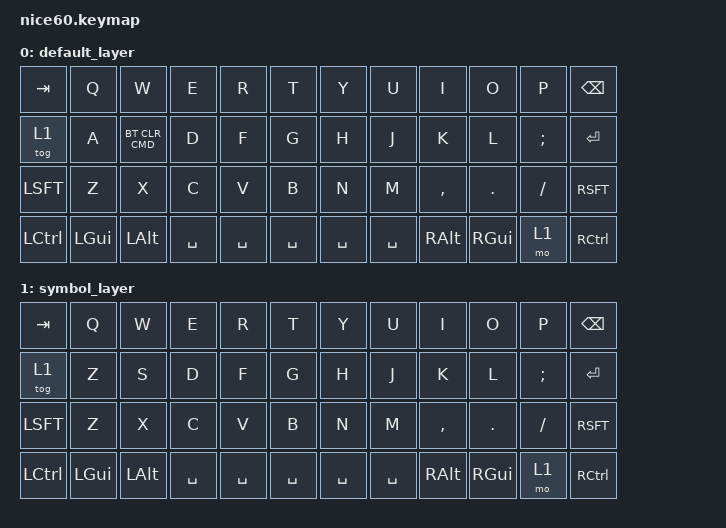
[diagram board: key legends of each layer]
#include <behaviors.dtsi>
#include <dt-bindings/zmk/keys.h>
#include <dt-bindings/zmk/rgb.h>
#include <dt-bindings/zmk/bt.h>

/ {
	keymap {
		compatible = "zmk,keymap";
		
		default_layer {
// ------------------------------------------------------------------------------------------
// | ESC |  1  |  2  |  3  |  4  |  5  |  6  |  7  |  8  |  9  |  0  |  -  |  =  |   BKSP   |
// | TAB  |  Q  |  W  |  E  |  R  |  T  |  Y  |  U  |  I  |  O  |  P  |  [  |  ]  |   "|"   |
// | CAPS  |  A  |  S  |  D  |  F  |  G  |  H  |  J  |  K  |  L  |  ;  |  '  |     ENTER    |
// |  SHIFT  |  Z  |  X  |  C  |  V  |  B  |  N  |  M  |  ,  |  .  |  /  |      SHIFT       |
// |  CTL  |  WIN  |  ALT  |            SPACE              |  ALT  |  WIN  |  MO(1) |  CTL  |
// ------------------------------------------------------------------------------------------
			bindings = <
	&kp TAB  &kp   Q   &kp   W   &kp   E   &kp   R   &kp   T   &kp   Y   &kp   U   &kp   I   &kp   O   &kp   P    &kp BKSP
	&tog 1 &kp   A   &bt   BT_CLR_CMD   &kp   D   &kp   F   &kp   G   &kp   H   &kp   J   &kp   K   &kp   L   &kp  SCLN  &kp RET
	&kp LSFT &kp   Z   &kp   X   &kp   C   &kp   V   &kp   B   &kp   N   &kp   M   &kp  CMMA &kp  DOT  &kp  FSLH  &kp RSFT
	&kp LCTL &kp  LGUI &kp  LALT &kp  SPC  &kp  SPC  &kp  SPC  &kp  SPC  &kp  SPC  &kp  RALT &kp RGUI  &mo   1    &kp RCTL
			>;
		};

		symbol_layer {
			bindings = <
	&kp TAB  &kp   Q   &kp   W   &kp   E   &kp   R   &kp   T   &kp   Y   &kp   U   &kp   I   &kp   O   &kp   P    &kp BKSP
	&tog 1 &kp   Z   &kp   S   &kp   D   &kp   F   &kp   G   &kp   H   &kp   J   &kp   K   &kp   L   &kp  SCLN  &kp RET
	&kp LSFT &kp   Z   &kp   X   &kp   C   &kp   V   &kp   B   &kp   N   &kp   M   &kp  CMMA &kp  DOT  &kp  FSLH  &kp RSFT
	&kp LCTL &kp  LGUI &kp  LALT &kp  SPC  &kp  SPC  &kp  SPC  &kp  SPC  &kp  SPC  &kp  RALT &kp RGUI  &mo   1    &kp RCTL
			>;
		};
	};
};


